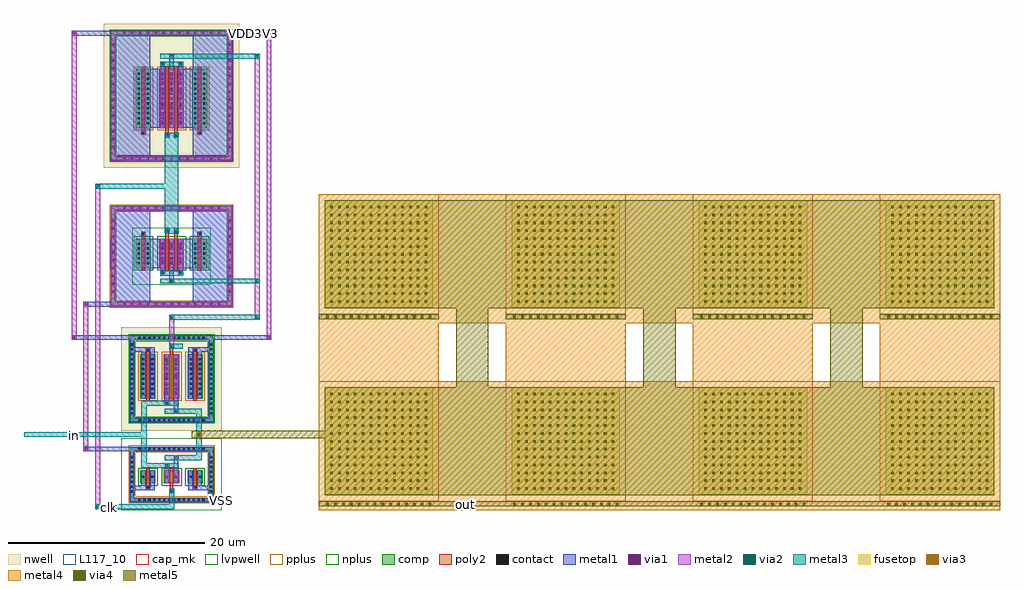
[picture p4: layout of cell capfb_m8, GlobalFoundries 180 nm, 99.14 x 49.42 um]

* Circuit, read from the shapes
.subckt capfb_m8 VDD3V3 VSS clk in out
XM1 VSS VSS VSS VSS nfet_03v3 w=3u l=0.36u m=2
XM2 VSS VSS VSS VSS nfet_03v3 w=1.3u l=0.36u m=2
XM3 n1 clk VSS VSS nfet_03v3 w=3u l=0.36u m=2
XM4 n2 clk in VSS nfet_03v3 w=1.3u l=0.36u
XM5 VDD3V3 VDD3V3 VDD3V3 VDD3V3 pfet_03v3 w=6u l=0.36u m=2
XM6 VDD3V3 VDD3V3 VDD3V3 VDD3V3 pfet_03v3 w=4.5u l=0.36u m=2
XM7 n1 clk VDD3V3 VDD3V3 pfet_03v3 w=6u l=0.36u m=2
XM8 n2 n1 in VDD3V3 pfet_03v3 w=4.5u l=0.36u
XC9 n2 out cap_mim_2f0fF c_width=11u c_length=11u m=8
.ends

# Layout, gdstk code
from math import pi, radians
import gdstk
lib = gdstk.Library(unit=1e-6, precision=5e-09)
def R(c, l, rs):  # rectangles x0, y0, x1, y1
    for r in rs: c.add(gdstk.rectangle(r[:2], r[2:], *l))
def A(c, l, x, y, w, h, nx, ny, dx, dy):  # array of equal rectangles
    R(c, l, [(x+i*dx, y+j*dy, x+i*dx+w, y+j*dy+h) for i in range(nx) for j in range(ny)])
def P(c, l, *ps):  # polygons
    for p in ps: c.add(gdstk.Polygon(p, *l))
nwell = (21, 0)
comp = (22, 0)
poly2 = (30, 0)
pplus = (31, 0)
nplus = (32, 0)
contact = (33, 0)
metal1 = (34, 0)
via1 = (35, 0)
metal2 = (36, 0)
via2 = (38, 0)
via3 = (40, 0)
via4 = (41, 0)
metal3 = (42, 0)
metal4 = (46, 0)
fusetop = (75, 0)
metal5 = (81, 0)
cap_mk = (117, 5)
L117_10 = (117, 10)
lvpwell = (204, 0)

straight_route_1292f0cf = lib.new_cell('straight_route_1292f0cf')
P(straight_route_1292f0cf, metal5, [(106.1,-6.15),(106.1,-5.65),(106.1,-5.65),(106.1,-6.15)])

straight_route_d243dd4a = lib.new_cell('straight_route_d243dd4a')
P(straight_route_d243dd4a, metal5, [(75.5,-5.05),(75.5,5.95),(75.5,5.95),(75.5,-5.05)])

straight_route_c66886c2 = lib.new_cell('straight_route_c66886c2')
R(straight_route_c66886c2, metal5, [(87.1,-25.15,93.9,-24.65)])

straight_route_5527bab2 = lib.new_cell('straight_route_5527bab2')
R(straight_route_5527bab2, metal5, [(86.5,-24.05,94.5,-13.05)])

straight_route_7c0e1663 = lib.new_cell('straight_route_7c0e1663')
R(straight_route_7c0e1663, metal5, [(86.5,-5.05,94.5,5.95)])

unnamed_3bdbd8be = lib.new_cell('Unnamed_3bdbd8be')
A(unnamed_3bdbd8be, via4, -5.33, -6.48, 0.26, 0.26, 14, 1, 0.8, 0)
A(unnamed_3bdbd8be, via4, -4.93, -4.93, 0.26, 0.26, 13, 13, 0.8, 0.8)
R(unnamed_3bdbd8be, metal4, [(-6.1,-7,6.1,-6.6), (-6.1,-6.6,6.1,-6.1), (-6.1,-6.1,6.1,6.1)])
R(unnamed_3bdbd8be, fusetop, [(-5.5,-5.5,5.5,5.5)])
A(unnamed_3bdbd8be, metal5, -5.45, -6.6, 0.5, 0.5, 14, 1, 0.8, 0)
A(unnamed_3bdbd8be, metal5, -5.05, -5.05, 0.5, 0.5, 13, 13, 0.8, 0.8)
R(unnamed_3bdbd8be, metal5, [(-6.1,-6.6,6.1,-6.1), (-5.5,-5.5,5.5,5.5)])
R(unnamed_3bdbd8be, cap_mk, [(-6.1,-6.1,6.1,6.1)])
R(unnamed_3bdbd8be, L117_10, [(-5.5,-5.5,5.5,-5.4)])

unnamed_5ccd14ac = lib.new_cell('Unnamed_5ccd14ac')
A(unnamed_5ccd14ac, via4, -5.33, -6.48, 0.26, 0.26, 14, 1, 0.8, 0)
A(unnamed_5ccd14ac, via4, -4.93, -4.93, 0.26, 0.26, 13, 13, 0.8, 0.8)
R(unnamed_5ccd14ac, metal4, [(-6.1,-7,6.1,-6.6), (-6.1,-6.6,6.1,-6.1), (-6.1,-6.1,6.1,6.1)])
R(unnamed_5ccd14ac, fusetop, [(-5.5,-5.5,5.5,5.5)])
A(unnamed_5ccd14ac, metal5, -5.45, -6.6, 0.5, 0.5, 14, 1, 0.8, 0)
A(unnamed_5ccd14ac, metal5, -5.05, -5.05, 0.5, 0.5, 13, 13, 0.8, 0.8)
R(unnamed_5ccd14ac, metal5, [(-6.1,-6.6,6.1,-6.1), (-5.5,-5.5,5.5,5.5)])
R(unnamed_5ccd14ac, cap_mk, [(-6.1,-6.1,6.1,6.1)])
R(unnamed_5ccd14ac, L117_10, [(-5.5,-5.5,5.5,-5.4)])

unnamed_c330ef8c = lib.new_cell('Unnamed_c330ef8c')
A(unnamed_c330ef8c, via4, -5.33, -6.48, 0.26, 0.26, 14, 1, 0.8, 0)
A(unnamed_c330ef8c, via4, -4.93, -4.93, 0.26, 0.26, 13, 13, 0.8, 0.8)
R(unnamed_c330ef8c, metal4, [(-6.1,-7,6.1,-6.6), (-6.1,-6.6,6.1,-6.1), (-6.1,-6.1,6.1,6.1)])
R(unnamed_c330ef8c, fusetop, [(-5.5,-5.5,5.5,5.5)])
A(unnamed_c330ef8c, metal5, -5.45, -6.6, 0.5, 0.5, 14, 1, 0.8, 0)
A(unnamed_c330ef8c, metal5, -5.05, -5.05, 0.5, 0.5, 13, 13, 0.8, 0.8)
R(unnamed_c330ef8c, metal5, [(-6.1,-6.6,6.1,-6.1), (-5.5,-5.5,5.5,5.5)])
R(unnamed_c330ef8c, cap_mk, [(-6.1,-6.1,6.1,6.1)])
R(unnamed_c330ef8c, L117_10, [(-5.5,-5.5,5.5,-5.4)])

unnamed_f946fc89 = lib.new_cell('Unnamed_f946fc89')
A(unnamed_f946fc89, via4, -5.33, -6.48, 0.26, 0.26, 14, 1, 0.8, 0)
A(unnamed_f946fc89, via4, -4.93, -4.93, 0.26, 0.26, 13, 13, 0.8, 0.8)
R(unnamed_f946fc89, metal4, [(-6.1,-7,6.1,-6.6), (-6.1,-6.6,6.1,-6.1), (-6.1,-6.1,6.1,6.1)])
R(unnamed_f946fc89, fusetop, [(-5.5,-5.5,5.5,5.5)])
A(unnamed_f946fc89, metal5, -5.45, -6.6, 0.5, 0.5, 14, 1, 0.8, 0)
A(unnamed_f946fc89, metal5, -5.05, -5.05, 0.5, 0.5, 13, 13, 0.8, 0.8)
R(unnamed_f946fc89, metal5, [(-6.1,-6.6,6.1,-6.1), (-5.5,-5.5,5.5,5.5)])
R(unnamed_f946fc89, cap_mk, [(-6.1,-6.1,6.1,6.1)])
R(unnamed_f946fc89, L117_10, [(-5.5,-5.5,5.5,-5.4)])

straight_route_1292f0cf_ = lib.new_cell('straight_route_1292f0cf$1')
P(straight_route_1292f0cf_, metal5, [(106.1,-6.15),(106.1,-5.65),(106.1,-5.65),(106.1,-6.15)])

straight_route_d243dd4a_ = lib.new_cell('straight_route_d243dd4a$1')
P(straight_route_d243dd4a_, metal5, [(75.5,-5.05),(75.5,5.95),(75.5,5.95),(75.5,-5.05)])

straight_route_c66886c2_ = lib.new_cell('straight_route_c66886c2$1')
R(straight_route_c66886c2_, metal5, [(87.1,-25.15,93.9,-24.65)])

straight_route_5527bab2_ = lib.new_cell('straight_route_5527bab2$1')
R(straight_route_5527bab2_, metal5, [(86.5,-24.05,94.5,-13.05)])

straight_route_7c0e1663_ = lib.new_cell('straight_route_7c0e1663$1')
R(straight_route_7c0e1663_, metal5, [(86.5,-5.05,94.5,5.95)])

unnamed_3bdbd8be_1 = lib.new_cell('Unnamed_3bdbd8be$1')
A(unnamed_3bdbd8be_1, via4, -5.33, -6.48, 0.26, 0.26, 14, 1, 0.8, 0)
A(unnamed_3bdbd8be_1, via4, -4.93, -4.93, 0.26, 0.26, 13, 13, 0.8, 0.8)
R(unnamed_3bdbd8be_1, metal4, [(-6.1,-7,6.1,-6.6), (-6.1,-6.6,6.1,-6.1), (-6.1,-6.1,6.1,6.1)])
R(unnamed_3bdbd8be_1, fusetop, [(-5.5,-5.5,5.5,5.5)])
A(unnamed_3bdbd8be_1, metal5, -5.45, -6.6, 0.5, 0.5, 14, 1, 0.8, 0)
A(unnamed_3bdbd8be_1, metal5, -5.05, -5.05, 0.5, 0.5, 13, 13, 0.8, 0.8)
R(unnamed_3bdbd8be_1, metal5, [(-6.1,-6.6,6.1,-6.1), (-5.5,-5.5,5.5,5.5)])
R(unnamed_3bdbd8be_1, cap_mk, [(-6.1,-6.1,6.1,6.1)])
R(unnamed_3bdbd8be_1, L117_10, [(-5.5,-5.5,5.5,-5.4)])

unnamed_5ccd14ac_1 = lib.new_cell('Unnamed_5ccd14ac$1')
A(unnamed_5ccd14ac_1, via4, -5.33, -6.48, 0.26, 0.26, 14, 1, 0.8, 0)
A(unnamed_5ccd14ac_1, via4, -4.93, -4.93, 0.26, 0.26, 13, 13, 0.8, 0.8)
R(unnamed_5ccd14ac_1, metal4, [(-6.1,-7,6.1,-6.6), (-6.1,-6.6,6.1,-6.1), (-6.1,-6.1,6.1,6.1)])
R(unnamed_5ccd14ac_1, fusetop, [(-5.5,-5.5,5.5,5.5)])
A(unnamed_5ccd14ac_1, metal5, -5.45, -6.6, 0.5, 0.5, 14, 1, 0.8, 0)
A(unnamed_5ccd14ac_1, metal5, -5.05, -5.05, 0.5, 0.5, 13, 13, 0.8, 0.8)
R(unnamed_5ccd14ac_1, metal5, [(-6.1,-6.6,6.1,-6.1), (-5.5,-5.5,5.5,5.5)])
R(unnamed_5ccd14ac_1, cap_mk, [(-6.1,-6.1,6.1,6.1)])
R(unnamed_5ccd14ac_1, L117_10, [(-5.5,-5.5,5.5,-5.4)])

unnamed_c330ef8c_1 = lib.new_cell('Unnamed_c330ef8c$1')
A(unnamed_c330ef8c_1, via4, -5.33, -6.48, 0.26, 0.26, 14, 1, 0.8, 0)
A(unnamed_c330ef8c_1, via4, -4.93, -4.93, 0.26, 0.26, 13, 13, 0.8, 0.8)
R(unnamed_c330ef8c_1, metal4, [(-6.1,-7,6.1,-6.6), (-6.1,-6.6,6.1,-6.1), (-6.1,-6.1,6.1,6.1)])
R(unnamed_c330ef8c_1, fusetop, [(-5.5,-5.5,5.5,5.5)])
A(unnamed_c330ef8c_1, metal5, -5.45, -6.6, 0.5, 0.5, 14, 1, 0.8, 0)
A(unnamed_c330ef8c_1, metal5, -5.05, -5.05, 0.5, 0.5, 13, 13, 0.8, 0.8)
R(unnamed_c330ef8c_1, metal5, [(-6.1,-6.6,6.1,-6.1), (-5.5,-5.5,5.5,5.5)])
R(unnamed_c330ef8c_1, cap_mk, [(-6.1,-6.1,6.1,6.1)])
R(unnamed_c330ef8c_1, L117_10, [(-5.5,-5.5,5.5,-5.4)])

unnamed_f946fc89_1 = lib.new_cell('Unnamed_f946fc89$1')
A(unnamed_f946fc89_1, via4, -5.33, -6.48, 0.26, 0.26, 14, 1, 0.8, 0)
A(unnamed_f946fc89_1, via4, -4.93, -4.93, 0.26, 0.26, 13, 13, 0.8, 0.8)
R(unnamed_f946fc89_1, metal4, [(-6.1,-7,6.1,-6.6), (-6.1,-6.6,6.1,-6.1), (-6.1,-6.1,6.1,6.1)])
R(unnamed_f946fc89_1, fusetop, [(-5.5,-5.5,5.5,5.5)])
A(unnamed_f946fc89_1, metal5, -5.45, -6.6, 0.5, 0.5, 14, 1, 0.8, 0)
A(unnamed_f946fc89_1, metal5, -5.05, -5.05, 0.5, 0.5, 13, 13, 0.8, 0.8)
R(unnamed_f946fc89_1, metal5, [(-6.1,-6.6,6.1,-6.1), (-5.5,-5.5,5.5,5.5)])
R(unnamed_f946fc89_1, cap_mk, [(-6.1,-6.1,6.1,6.1)])
R(unnamed_f946fc89_1, L117_10, [(-5.5,-5.5,5.5,-5.4)])

unnamed_2a73851a_1_2 = lib.new_cell('Unnamed_2a73851a$1$2')
R(unnamed_2a73851a_1_2, nwell, [(-2.32,-4.395,2.32,4.395)])
R(unnamed_2a73851a_1_2, comp, [(-1.97,-3.275,-0.45,2.725), (0.41,-3.275,1.97,2.725)])
R(unnamed_2a73851a_1_2, poly2, [(0.96,-4.275,1.42,-3.815), (1.01,-4.225,1.37,-3.865), (-1.44,-3.975,-0.98,-3.515), (-1.39,-3.925,-1.03,-3.565), (1.01,-3.815,1.37,-3.515), (-1.39,-3.515,-1.03,2.965), (1.01,-3.515,1.37,2.965)])
R(unnamed_2a73851a_1_2, pplus, [(-2.2,-3.505,-0.22,2.955), (0.18,-3.505,2.2,2.955)])
A(unnamed_2a73851a_1_2, contact, -1.78, -2.885, 0.22, 0.22, 1, 11, 0, 0.5)
A(unnamed_2a73851a_1_2, contact, -0.86, -2.885, 0.22, 0.22, 1, 11, 0, 0.5)
A(unnamed_2a73851a_1_2, contact, 0.62, -2.885, 0.22, 0.22, 1, 11, 0, 0.5)
A(unnamed_2a73851a_1_2, contact, 1.54, -2.885, 0.22, 0.22, 1, 11, 0, 0.5)
R(unnamed_2a73851a_1_2, contact, [(1.08,-4.155,1.3,-3.935), (-1.32,-3.855,-1.1,-3.635)])
A(unnamed_2a73851a_1_2, metal1, -1.9, -3.975, 0.46, 0.46, 3, 1, 0.46, 0)
A(unnamed_2a73851a_1_2, metal1, -1.9, -3.005, 0.46, 0.46, 1, 11, 0, 0.5)
A(unnamed_2a73851a_1_2, metal1, -0.98, -3.005, 0.46, 0.46, 1, 11, 0, 0.5)
A(unnamed_2a73851a_1_2, metal1, 0.5, -3.005, 0.46, 0.46, 1, 11, 0, 0.5)
A(unnamed_2a73851a_1_2, metal1, 1.42, -3.005, 0.46, 0.46, 1, 11, 0, 0.5)
A(unnamed_2a73851a_1_2, metal1, 0.48, -2.925, 0.5, 0.5, 1, 7, 0, 0.8)
A(unnamed_2a73851a_1_2, metal1, 1.4, -2.925, 0.5, 0.5, 1, 7, 0, 0.8)
R(unnamed_2a73851a_1_2, metal1, [(0.96,-4.275,1.42,-3.815), (0.96,-4.275,1.42,-3.815), (-1.9,-3.975,-1.44,-3.275), (-0.98,-3.975,-0.52,-3.275), (-1.9,-3.275,-1.44,2.725), (-0.98,-3.275,-0.52,2.725), (0.5,-3.275,0.96,2.725), (1.42,-3.275,1.88,2.725), (0.48,-2.925,0.98,2.375), (1.4,-2.925,1.9,2.375), (0.5,2.725,0.96,3.475), (1.42,2.725,1.88,4.275), (0.48,2.975,0.98,3.475), (1.4,3.775,1.9,4.275)])
A(unnamed_2a73851a_1_2, via1, 0.6, -2.805, 0.26, 0.26, 1, 7, 0, 0.8)
A(unnamed_2a73851a_1_2, via1, 1.52, -2.805, 0.26, 0.26, 1, 7, 0, 0.8)
R(unnamed_2a73851a_1_2, via1, [(0.6,3.095,0.86,3.355), (1.52,3.895,1.78,4.155)])
A(unnamed_2a73851a_1_2, metal2, 0.48, -2.925, 0.5, 0.5, 1, 7, 0, 0.8)
A(unnamed_2a73851a_1_2, metal2, 1.4, -2.925, 0.5, 0.5, 1, 7, 0, 0.8)
R(unnamed_2a73851a_1_2, metal2, [(0.48,-3.275,0.98,2.725), (1.4,-3.275,1.9,2.725), (0.48,2.975,0.98,3.475), (1.4,3.775,1.9,4.275)])
R(unnamed_2a73851a_1_2, via2, [(0.6,3.095,0.86,3.355), (1.52,3.895,1.78,4.155)])
R(unnamed_2a73851a_1_2, metal3, [(0.48,2.975,0.98,3.475), (0.48,2.975,1.9,3.475), (0.48,3.775,1.9,4.275), (1.4,3.775,1.9,4.275)])

unnamed_f1af8ef3_1_2 = lib.new_cell('Unnamed_f1af8ef3$1$2')
R(unnamed_f1af8ef3_1_2, nwell, [(-2.32,-4.395,2.32,4.395)])
R(unnamed_f1af8ef3_1_2, comp, [(-1.97,-3.275,-0.45,2.725), (0.41,-3.275,1.97,2.725)])
R(unnamed_f1af8ef3_1_2, poly2, [(0.96,-4.275,1.42,-3.815), (1.01,-4.225,1.37,-3.865), (-1.44,-3.975,-0.98,-3.515), (-1.39,-3.925,-1.03,-3.565), (1.01,-3.815,1.37,-3.515), (-1.39,-3.515,-1.03,2.965), (1.01,-3.515,1.37,2.965)])
R(unnamed_f1af8ef3_1_2, pplus, [(-2.2,-3.505,-0.22,2.955), (0.18,-3.505,2.2,2.955)])
A(unnamed_f1af8ef3_1_2, contact, -1.78, -2.885, 0.22, 0.22, 1, 11, 0, 0.5)
A(unnamed_f1af8ef3_1_2, contact, -0.86, -2.885, 0.22, 0.22, 1, 11, 0, 0.5)
A(unnamed_f1af8ef3_1_2, contact, 0.62, -2.885, 0.22, 0.22, 1, 11, 0, 0.5)
A(unnamed_f1af8ef3_1_2, contact, 1.54, -2.885, 0.22, 0.22, 1, 11, 0, 0.5)
R(unnamed_f1af8ef3_1_2, contact, [(1.08,-4.155,1.3,-3.935), (-1.32,-3.855,-1.1,-3.635)])
A(unnamed_f1af8ef3_1_2, metal1, -1.9, -3.975, 0.46, 0.46, 3, 1, 0.46, 0)
A(unnamed_f1af8ef3_1_2, metal1, -1.9, -3.005, 0.46, 0.46, 1, 11, 0, 0.5)
A(unnamed_f1af8ef3_1_2, metal1, -0.98, -3.005, 0.46, 0.46, 1, 11, 0, 0.5)
A(unnamed_f1af8ef3_1_2, metal1, 0.5, -3.005, 0.46, 0.46, 1, 11, 0, 0.5)
A(unnamed_f1af8ef3_1_2, metal1, 1.42, -3.005, 0.46, 0.46, 1, 11, 0, 0.5)
A(unnamed_f1af8ef3_1_2, metal1, 0.48, -2.925, 0.5, 0.5, 1, 7, 0, 0.8)
A(unnamed_f1af8ef3_1_2, metal1, 1.4, -2.925, 0.5, 0.5, 1, 7, 0, 0.8)
R(unnamed_f1af8ef3_1_2, metal1, [(0.96,-4.275,1.42,-3.815), (0.96,-4.275,1.42,-3.815), (-1.9,-3.975,-1.44,-3.275), (-0.98,-3.975,-0.52,-3.275), (-1.9,-3.275,-1.44,2.725), (-0.98,-3.275,-0.52,2.725), (0.5,-3.275,0.96,2.725), (1.42,-3.275,1.88,2.725), (0.48,-2.925,0.98,2.375), (1.4,-2.925,1.9,2.375), (0.5,2.725,0.96,3.475), (1.42,2.725,1.88,4.275), (0.48,2.975,0.98,3.475), (1.4,3.775,1.9,4.275)])
A(unnamed_f1af8ef3_1_2, via1, 0.6, -2.805, 0.26, 0.26, 1, 7, 0, 0.8)
A(unnamed_f1af8ef3_1_2, via1, 1.52, -2.805, 0.26, 0.26, 1, 7, 0, 0.8)
R(unnamed_f1af8ef3_1_2, via1, [(0.6,3.095,0.86,3.355), (1.52,3.895,1.78,4.155)])
A(unnamed_f1af8ef3_1_2, metal2, 0.48, -2.925, 0.5, 0.5, 1, 7, 0, 0.8)
A(unnamed_f1af8ef3_1_2, metal2, 1.4, -2.925, 0.5, 0.5, 1, 7, 0, 0.8)
R(unnamed_f1af8ef3_1_2, metal2, [(0.48,-3.275,0.98,2.725), (1.4,-3.275,1.9,2.725), (0.48,2.975,0.98,3.475), (1.4,3.775,1.9,4.275)])
R(unnamed_f1af8ef3_1_2, via2, [(0.6,3.095,0.86,3.355), (1.52,3.895,1.78,4.155)])
R(unnamed_f1af8ef3_1_2, metal3, [(0.48,2.975,0.98,3.475), (0.48,2.975,1.9,3.475), (0.48,3.775,1.9,4.275), (1.4,3.775,1.9,4.275)])

unnamed_ead98f9a_1_2 = lib.new_cell('Unnamed_ead98f9a$1$2')
R(unnamed_ead98f9a_1_2, comp, [(-1.97,-1.775,-0.45,1.225), (0.41,-1.775,1.97,1.225)])
R(unnamed_ead98f9a_1_2, poly2, [(0.96,-2.775,1.42,-2.315), (1.01,-2.725,1.37,-2.365), (-1.44,-2.475,-0.98,-2.015), (-1.39,-2.425,-1.03,-2.065), (1.01,-2.315,1.37,-2.015), (-1.39,-2.015,-1.03,1.465), (1.01,-2.015,1.37,1.465)])
R(unnamed_ead98f9a_1_2, nplus, [(-2.2,-2.005,-0.22,1.455), (0.18,-2.005,2.2,1.455)])
A(unnamed_ead98f9a_1_2, contact, -1.78, -1.385, 0.22, 0.22, 1, 5, 0, 0.5)
A(unnamed_ead98f9a_1_2, contact, -0.86, -1.385, 0.22, 0.22, 1, 5, 0, 0.5)
A(unnamed_ead98f9a_1_2, contact, 0.62, -1.385, 0.22, 0.22, 1, 5, 0, 0.5)
A(unnamed_ead98f9a_1_2, contact, 1.54, -1.385, 0.22, 0.22, 1, 5, 0, 0.5)
R(unnamed_ead98f9a_1_2, contact, [(1.08,-2.655,1.3,-2.435), (-1.32,-2.355,-1.1,-2.135)])
A(unnamed_ead98f9a_1_2, metal1, -1.9, -2.475, 0.46, 0.46, 3, 1, 0.46, 0)
A(unnamed_ead98f9a_1_2, metal1, -1.9, -1.505, 0.46, 0.46, 1, 5, 0, 0.5)
A(unnamed_ead98f9a_1_2, metal1, -0.98, -1.505, 0.46, 0.46, 1, 5, 0, 0.5)
A(unnamed_ead98f9a_1_2, metal1, 0.5, -1.505, 0.46, 0.46, 1, 5, 0, 0.5)
A(unnamed_ead98f9a_1_2, metal1, 1.42, -1.505, 0.46, 0.46, 1, 5, 0, 0.5)
A(unnamed_ead98f9a_1_2, metal1, 0.48, -1.325, 0.5, 0.5, 1, 3, 0, 0.8)
A(unnamed_ead98f9a_1_2, metal1, 1.4, -1.325, 0.5, 0.5, 1, 3, 0, 0.8)
R(unnamed_ead98f9a_1_2, metal1, [(0.96,-2.775,1.42,-2.315), (0.96,-2.775,1.42,-2.315), (-1.9,-2.475,-1.44,-1.775), (-0.98,-2.475,-0.52,-1.775), (-1.9,-1.775,-1.44,1.225), (-0.98,-1.775,-0.52,1.225), (0.5,-1.775,0.96,1.225), (1.42,-1.775,1.88,1.225), (0.48,-1.325,0.98,0.775), (1.4,-1.325,1.9,0.775), (0.5,1.225,0.96,1.975), (1.42,1.225,1.88,2.775), (0.48,1.475,0.98,1.975), (1.4,2.275,1.9,2.775)])
A(unnamed_ead98f9a_1_2, via1, 0.6, -1.205, 0.26, 0.26, 1, 3, 0, 0.8)
A(unnamed_ead98f9a_1_2, via1, 1.52, -1.205, 0.26, 0.26, 1, 3, 0, 0.8)
R(unnamed_ead98f9a_1_2, via1, [(0.6,1.595,0.86,1.855), (1.52,2.395,1.78,2.655)])
A(unnamed_ead98f9a_1_2, metal2, 0.48, -1.325, 0.5, 0.5, 1, 3, 0, 0.8)
A(unnamed_ead98f9a_1_2, metal2, 1.4, -1.325, 0.5, 0.5, 1, 3, 0, 0.8)
R(unnamed_ead98f9a_1_2, metal2, [(0.48,-1.775,0.98,1.225), (1.4,-1.775,1.9,1.225), (0.48,1.475,0.98,1.975), (1.4,2.275,1.9,2.775)])
R(unnamed_ead98f9a_1_2, via2, [(0.6,1.595,0.86,1.855), (1.52,2.395,1.78,2.655)])
R(unnamed_ead98f9a_1_2, metal3, [(0.48,1.475,0.98,1.975), (0.48,1.475,1.9,1.975), (0.48,2.275,1.9,2.775), (1.4,2.275,1.9,2.775)])
R(unnamed_ead98f9a_1_2, lvpwell, [(-2.32,-2.895,2.32,2.895)])

unnamed_11e8e328_1_2 = lib.new_cell('Unnamed_11e8e328$1$2')
R(unnamed_11e8e328_1_2, comp, [(-1.97,-1.775,-0.45,1.225), (0.41,-1.775,1.97,1.225)])
R(unnamed_11e8e328_1_2, poly2, [(0.96,-2.775,1.42,-2.315), (1.01,-2.725,1.37,-2.365), (-1.44,-2.475,-0.98,-2.015), (-1.39,-2.425,-1.03,-2.065), (1.01,-2.315,1.37,-2.015), (-1.39,-2.015,-1.03,1.465), (1.01,-2.015,1.37,1.465)])
R(unnamed_11e8e328_1_2, nplus, [(-2.2,-2.005,-0.22,1.455), (0.18,-2.005,2.2,1.455)])
A(unnamed_11e8e328_1_2, contact, -1.78, -1.385, 0.22, 0.22, 1, 5, 0, 0.5)
A(unnamed_11e8e328_1_2, contact, -0.86, -1.385, 0.22, 0.22, 1, 5, 0, 0.5)
A(unnamed_11e8e328_1_2, contact, 0.62, -1.385, 0.22, 0.22, 1, 5, 0, 0.5)
A(unnamed_11e8e328_1_2, contact, 1.54, -1.385, 0.22, 0.22, 1, 5, 0, 0.5)
R(unnamed_11e8e328_1_2, contact, [(1.08,-2.655,1.3,-2.435), (-1.32,-2.355,-1.1,-2.135)])
A(unnamed_11e8e328_1_2, metal1, -1.9, -2.475, 0.46, 0.46, 3, 1, 0.46, 0)
A(unnamed_11e8e328_1_2, metal1, -1.9, -1.505, 0.46, 0.46, 1, 5, 0, 0.5)
A(unnamed_11e8e328_1_2, metal1, -0.98, -1.505, 0.46, 0.46, 1, 5, 0, 0.5)
A(unnamed_11e8e328_1_2, metal1, 0.5, -1.505, 0.46, 0.46, 1, 5, 0, 0.5)
A(unnamed_11e8e328_1_2, metal1, 1.42, -1.505, 0.46, 0.46, 1, 5, 0, 0.5)
A(unnamed_11e8e328_1_2, metal1, 0.48, -1.325, 0.5, 0.5, 1, 3, 0, 0.8)
A(unnamed_11e8e328_1_2, metal1, 1.4, -1.325, 0.5, 0.5, 1, 3, 0, 0.8)
R(unnamed_11e8e328_1_2, metal1, [(0.96,-2.775,1.42,-2.315), (0.96,-2.775,1.42,-2.315), (-1.9,-2.475,-1.44,-1.775), (-0.98,-2.475,-0.52,-1.775), (-1.9,-1.775,-1.44,1.225), (-0.98,-1.775,-0.52,1.225), (0.5,-1.775,0.96,1.225), (1.42,-1.775,1.88,1.225), (0.48,-1.325,0.98,0.775), (1.4,-1.325,1.9,0.775), (0.5,1.225,0.96,1.975), (1.42,1.225,1.88,2.775), (0.48,1.475,0.98,1.975), (1.4,2.275,1.9,2.775)])
A(unnamed_11e8e328_1_2, via1, 0.6, -1.205, 0.26, 0.26, 1, 3, 0, 0.8)
A(unnamed_11e8e328_1_2, via1, 1.52, -1.205, 0.26, 0.26, 1, 3, 0, 0.8)
R(unnamed_11e8e328_1_2, via1, [(0.6,1.595,0.86,1.855), (1.52,2.395,1.78,2.655)])
A(unnamed_11e8e328_1_2, metal2, 0.48, -1.325, 0.5, 0.5, 1, 3, 0, 0.8)
A(unnamed_11e8e328_1_2, metal2, 1.4, -1.325, 0.5, 0.5, 1, 3, 0, 0.8)
R(unnamed_11e8e328_1_2, metal2, [(0.48,-1.775,0.98,1.225), (1.4,-1.775,1.9,1.225), (0.48,1.475,0.98,1.975), (1.4,2.275,1.9,2.775)])
R(unnamed_11e8e328_1_2, via2, [(0.6,1.595,0.86,1.855), (1.52,2.395,1.78,2.655)])
R(unnamed_11e8e328_1_2, metal3, [(0.48,1.475,0.98,1.975), (0.48,1.475,1.9,1.975), (0.48,2.275,1.9,2.775), (1.4,2.275,1.9,2.775)])
R(unnamed_11e8e328_1_2, lvpwell, [(-2.32,-2.895,2.32,2.895)])

unnamed_a559eeb2_1_1_2 = lib.new_cell('Unnamed_a559eeb2$1$1$2')
A(unnamed_a559eeb2_1_1_2, comp, -4.98, -6.555, 0.36, 0.36, 13, 2, 0.8, 12.75)
A(unnamed_a559eeb2_1_1_2, comp, -6.13, -5.38, 0.36, 0.36, 1, 14, 0, 0.8)
A(unnamed_a559eeb2_1_1_2, comp, 5.77, -5.38, 0.36, 0.36, 1, 14, 0, 0.8)
R(unnamed_a559eeb2_1_1_2, comp, [(-4.98,-6.555,4.98,-6.195), (-6.13,-5.38,-5.77,5.38), (5.77,-5.38,6.13,5.38), (-4.98,6.195,4.98,6.555)])
P(unnamed_a559eeb2_1_1_2, comp, [(-6.13,-6.555),(-6.13,-6.195),(-5.77,-6.195),(5.77,-6.195),(5.77,6.195),(-5.77,6.195),(-5.77,-6.195),(-6.13,-6.195),(-6.13,6.555),(6.13,6.555),(6.13,-6.555)])
P(unnamed_a559eeb2_1_1_2, nplus, [(-6.29,-6.715),(-6.29,-6.035),(-5.61,-6.035),(5.61,-6.035),(5.61,6.035),(-5.61,6.035),(-5.61,-6.035),(-6.29,-6.035),(-6.29,6.715),(6.29,6.715),(6.29,-6.715)])
A(unnamed_a559eeb2_1_1_2, contact, -4.91, -6.485, 0.22, 0.22, 13, 2, 0.8, 12.75)
A(unnamed_a559eeb2_1_1_2, contact, -6.06, -5.31, 0.22, 0.22, 1, 14, 0, 0.8)
A(unnamed_a559eeb2_1_1_2, contact, 5.84, -5.31, 0.22, 0.22, 1, 14, 0, 0.8)
A(unnamed_a559eeb2_1_1_2, metal1, -5.05, -6.625, 0.5, 0.5, 13, 2, 0.8, 12.75)
A(unnamed_a559eeb2_1_1_2, metal1, -6.2, -5.45, 0.5, 0.5, 1, 14, 0, 0.8)
A(unnamed_a559eeb2_1_1_2, metal1, 5.7, -5.45, 0.5, 0.5, 1, 14, 0, 0.8)
R(unnamed_a559eeb2_1_1_2, metal1, [(-5.05,-6.625,5.05,-6.125), (-6.2,-5.45,-5.7,5.45), (5.7,-5.45,6.2,5.45), (-5.05,6.125,5.05,6.625)])
A(unnamed_a559eeb2_1_1_2, via1, -4.93, -6.505, 0.26, 0.26, 13, 2, 0.8, 12.75)
A(unnamed_a559eeb2_1_1_2, via1, -6.08, -5.33, 0.26, 0.26, 1, 14, 0, 0.8)
A(unnamed_a559eeb2_1_1_2, via1, 5.82, -5.33, 0.26, 0.26, 1, 14, 0, 0.8)
A(unnamed_a559eeb2_1_1_2, metal2, -5.05, -6.625, 0.5, 0.5, 13, 2, 0.8, 12.75)
A(unnamed_a559eeb2_1_1_2, metal2, -6.2, -5.45, 0.5, 0.5, 1, 14, 0, 0.8)
A(unnamed_a559eeb2_1_1_2, metal2, 5.7, -5.45, 0.5, 0.5, 1, 14, 0, 0.8)
R(unnamed_a559eeb2_1_1_2, metal2, [(-6.2,-6.625,-5.77,-6.125), (-6.2,-6.625,-5.7,-6.195), (-5.77,-6.625,5.77,-6.125), (5.7,-6.625,6.2,-6.195), (5.77,-6.625,6.2,-6.125), (-6.2,-6.195,-5.7,6.195), (5.7,-6.195,6.2,6.195), (-6.2,6.125,-5.77,6.625), (-5.77,6.125,5.77,6.625), (5.77,6.125,6.2,6.625), (-6.2,6.195,-5.7,6.625), (5.7,6.195,6.2,6.625)])

unnamed_ba294454_1_1_2 = lib.new_cell('Unnamed_ba294454$1$1$2')
A(unnamed_ba294454_1_1_2, comp, -4.98, -5.055, 0.36, 0.36, 13, 2, 0.8, 9.75)
A(unnamed_ba294454_1_1_2, comp, -6.13, -3.78, 0.36, 0.36, 1, 10, 0, 0.8)
A(unnamed_ba294454_1_1_2, comp, 5.77, -3.78, 0.36, 0.36, 1, 10, 0, 0.8)
R(unnamed_ba294454_1_1_2, comp, [(-4.98,-5.055,4.98,-4.695), (-6.13,-3.78,-5.77,3.78), (5.77,-3.78,6.13,3.78), (-4.98,4.695,4.98,5.055)])
P(unnamed_ba294454_1_1_2, comp, [(-6.13,-5.055),(-6.13,-4.695),(-5.77,-4.695),(5.77,-4.695),(5.77,4.695),(-5.77,4.695),(-5.77,-4.695),(-6.13,-4.695),(-6.13,5.055),(6.13,5.055),(6.13,-5.055)])
P(unnamed_ba294454_1_1_2, pplus, [(-6.29,-5.215),(-6.29,-4.535),(-5.61,-4.535),(5.61,-4.535),(5.61,4.535),(-5.61,4.535),(-5.61,-4.535),(-6.29,-4.535),(-6.29,5.215),(6.29,5.215),(6.29,-5.215)])
A(unnamed_ba294454_1_1_2, contact, -4.91, -4.985, 0.22, 0.22, 13, 2, 0.8, 9.75)
A(unnamed_ba294454_1_1_2, contact, -6.06, -3.71, 0.22, 0.22, 1, 10, 0, 0.8)
A(unnamed_ba294454_1_1_2, contact, 5.84, -3.71, 0.22, 0.22, 1, 10, 0, 0.8)
A(unnamed_ba294454_1_1_2, metal1, -5.05, -5.125, 0.5, 0.5, 13, 2, 0.8, 9.75)
A(unnamed_ba294454_1_1_2, metal1, -6.2, -3.85, 0.5, 0.5, 1, 10, 0, 0.8)
A(unnamed_ba294454_1_1_2, metal1, 5.7, -3.85, 0.5, 0.5, 1, 10, 0, 0.8)
R(unnamed_ba294454_1_1_2, metal1, [(-5.05,-5.125,5.05,-4.625), (-6.2,-3.85,-5.7,3.85), (5.7,-3.85,6.2,3.85), (-5.05,4.625,5.05,5.125)])
A(unnamed_ba294454_1_1_2, via1, -4.93, -5.005, 0.26, 0.26, 13, 2, 0.8, 9.75)
A(unnamed_ba294454_1_1_2, via1, -6.08, -3.73, 0.26, 0.26, 1, 10, 0, 0.8)
A(unnamed_ba294454_1_1_2, via1, 5.82, -3.73, 0.26, 0.26, 1, 10, 0, 0.8)
A(unnamed_ba294454_1_1_2, metal2, -5.05, -5.125, 0.5, 0.5, 13, 2, 0.8, 9.75)
A(unnamed_ba294454_1_1_2, metal2, -6.2, -3.85, 0.5, 0.5, 1, 10, 0, 0.8)
A(unnamed_ba294454_1_1_2, metal2, 5.7, -3.85, 0.5, 0.5, 1, 10, 0, 0.8)
R(unnamed_ba294454_1_1_2, metal2, [(-6.2,-5.125,-5.77,-4.625), (-6.2,-5.125,-5.7,-4.695), (-5.77,-5.125,5.77,-4.625), (5.7,-5.125,6.2,-4.695), (5.77,-5.125,6.2,-4.625), (-6.2,-4.695,-5.7,4.695), (5.7,-4.695,6.2,4.695), (-6.2,4.625,-5.77,5.125), (-5.77,4.625,5.77,5.125), (5.77,4.625,6.2,5.125), (-6.2,4.695,-5.7,5.125), (5.7,4.695,6.2,5.125)])

straight_route_bff6138e_ = lib.new_cell('straight_route_bff6138e$4$1$2')
P(straight_route_bff6138e_, metal1, [(0.96,-4.275),(0.96,-4.275),(1.42,-4.275),(1.42,-4.275)])

c_route_7e4f65a3_1_1_2 = lib.new_cell('c_route_7e4f65a3$1$1$2')
R(c_route_7e4f65a3_1_1_2, metal2, [(10.1,-19.065,10.6,-18.565), (10.1,-19.065,10.6,4.275), (10.1,3.775,10.6,4.275)])
P(c_route_7e4f65a3_1_1_2, metal2, [(10.6,-19.065),(10.6,-18.565),(10.6,-18.565),(10.6,-19.065)],
  [(10.6,3.775),(10.6,4.275),(10.6,4.275),(10.6,3.775)])
R(c_route_7e4f65a3_1_1_2, via2, [(10.22,-18.945,10.48,-18.685), (10.22,3.895,10.48,4.155)])
R(c_route_7e4f65a3_1_1_2, metal3, [(1.9,-19.065,10.6,-18.565), (10.1,-19.065,10.6,-18.565), (1.9,3.775,10.6,4.275), (10.1,3.775,10.6,4.275)])

straight_route_e266139e_ = lib.new_cell('straight_route_e266139e$2$1$2')
R(straight_route_e266139e_, metal1, [(1.86,-14.015,2.36,-13.515), (1.86,-4.275,2.36,-3.775)])
R(straight_route_e266139e_, via1, [(1.98,-13.895,2.24,-13.635), (1.98,-4.155,2.24,-3.895)])
R(straight_route_e266139e_, metal2, [(1.86,-14.015,2.36,-13.515), (1.86,-4.275,2.36,-3.775)])
R(straight_route_e266139e_, via2, [(1.98,-13.895,2.24,-13.635), (1.98,-4.155,2.24,-3.895)])
R(straight_route_e266139e_, metal3, [(1.86,-14.015,2.36,-13.515), (1.88,-13.515,2.34,-4.275), (1.86,-4.275,2.36,-3.775)])

straight_route_f31ed6b7_ = lib.new_cell('straight_route_f31ed6b7$2$1$2')
R(straight_route_f31ed6b7_, metal1, [(0.94,-14.015,1.44,-13.515), (0.94,-4.275,1.44,-3.775)])
R(straight_route_f31ed6b7_, via1, [(1.06,-13.895,1.32,-13.635), (1.06,-4.155,1.32,-3.895)])
R(straight_route_f31ed6b7_, metal2, [(0.94,-14.015,1.44,-13.515), (0.94,-4.275,1.44,-3.775)])
R(straight_route_f31ed6b7_, via2, [(1.06,-13.895,1.32,-13.635), (1.06,-4.155,1.32,-3.895)])
R(straight_route_f31ed6b7_, metal3, [(0.94,-14.015,1.44,-13.515), (0.96,-13.515,1.42,-4.275), (0.94,-4.275,1.44,-3.775)])

unnamed_5acb1a93_1_2 = lib.new_cell('Unnamed_5acb1a93$1$2')
R(unnamed_5acb1a93_1_2, nwell, [(-4.49,-4.645,4.49,4.645)])
A(unnamed_5acb1a93_1_2, comp, -3.43, -4.365, 0.36, 0.36, 14, 2, 0.5, 8.37)
A(unnamed_5acb1a93_1_2, comp, -4.21, -3.68, 0.36, 0.36, 1, 15, 0, 0.5)
A(unnamed_5acb1a93_1_2, comp, 3.85, -3.68, 0.36, 0.36, 1, 15, 0, 0.5)
R(unnamed_5acb1a93_1_2, comp, [(-3.43,-4.365,3.43,-4.005), (-4.21,-3.68,-3.85,3.68), (3.85,-3.68,4.21,3.68), (-3.16,-2.505,-1.64,1.995), (-0.78,-2.505,0.78,1.995), (1.64,-2.505,3.16,1.995), (-3.43,4.005,3.43,4.365)])
P(unnamed_5acb1a93_1_2, comp, [(-4.21,-4.365),(-4.21,-4.005),(-3.85,-4.005),(3.85,-4.005),(3.85,4.005),(-3.85,4.005),(-3.85,-4.005),(-4.21,-4.005),(-4.21,4.365),(4.21,4.365),(4.21,-4.365)])
A(unnamed_5acb1a93_1_2, poly2, -2.58, -2.745, 0.36, 4.98, 3, 1, 2.4, 0)
R(unnamed_5acb1a93_1_2, poly2, [(-0.25,-3.545,0.25,-3.045), (-0.18,-3.475,0.18,-3.115), (-2.63,-3.205,-2.17,-2.745), (2.17,-3.205,2.63,-2.745), (-2.58,-3.155,-2.22,-2.795), (2.22,-3.155,2.58,-2.795), (-0.18,-3.045,0.18,-2.745)])
R(unnamed_5acb1a93_1_2, pplus, [(-3.39,-2.735,-1.41,2.225), (-1.01,-2.735,1.01,2.225), (1.41,-2.735,3.39,2.225)])
P(unnamed_5acb1a93_1_2, nplus, [(-4.37,-4.525),(-4.37,-3.845),(-3.69,-3.845),(3.69,-3.845),(3.69,3.845),(-3.69,3.845),(-3.69,-3.845),(-4.37,-3.845),(-4.37,4.525),(4.37,4.525),(4.37,-4.525)])
A(unnamed_5acb1a93_1_2, contact, -3.36, -4.295, 0.22, 0.22, 14, 2, 0.5, 8.37)
A(unnamed_5acb1a93_1_2, contact, -4.14, -3.61, 0.22, 0.22, 1, 15, 0, 0.5)
A(unnamed_5acb1a93_1_2, contact, 3.92, -3.61, 0.22, 0.22, 1, 15, 0, 0.5)
A(unnamed_5acb1a93_1_2, contact, -2.97, -2.115, 0.22, 0.22, 1, 8, 0, 0.5)
A(unnamed_5acb1a93_1_2, contact, -2.05, -2.115, 0.22, 0.22, 1, 8, 0, 0.5)
A(unnamed_5acb1a93_1_2, contact, -0.57, -2.115, 0.22, 0.22, 1, 8, 0, 0.5)
A(unnamed_5acb1a93_1_2, contact, 0.35, -2.115, 0.22, 0.22, 1, 8, 0, 0.5)
A(unnamed_5acb1a93_1_2, contact, 1.83, -2.115, 0.22, 0.22, 1, 8, 0, 0.5)
A(unnamed_5acb1a93_1_2, contact, 2.75, -2.115, 0.22, 0.22, 1, 8, 0, 0.5)
R(unnamed_5acb1a93_1_2, contact, [(-0.11,-3.405,0.11,-3.185), (-2.51,-3.085,-2.29,-2.865), (2.29,-3.085,2.51,-2.865)])
A(unnamed_5acb1a93_1_2, metal1, -3.48, -4.415, 0.46, 0.46, 14, 2, 0.5, 8.37)
A(unnamed_5acb1a93_1_2, metal1, -4.26, -3.73, 0.46, 0.46, 1, 15, 0, 0.5)
A(unnamed_5acb1a93_1_2, metal1, 3.8, -3.73, 0.46, 0.46, 1, 15, 0, 0.5)
A(unnamed_5acb1a93_1_2, metal1, -3.09, -3.205, 0.46, 0.46, 3, 1, 0.46, 0)
A(unnamed_5acb1a93_1_2, metal1, 1.71, -3.205, 0.46, 0.46, 3, 1, 0.46, 0)
A(unnamed_5acb1a93_1_2, metal1, -3.09, -2.235, 0.46, 0.46, 1, 8, 0, 0.5)
A(unnamed_5acb1a93_1_2, metal1, -2.17, -2.235, 0.46, 0.46, 1, 8, 0, 0.5)
A(unnamed_5acb1a93_1_2, metal1, -0.69, -2.235, 0.46, 0.46, 1, 8, 0, 0.5)
A(unnamed_5acb1a93_1_2, metal1, 0.23, -2.235, 0.46, 0.46, 1, 8, 0, 0.5)
A(unnamed_5acb1a93_1_2, metal1, 1.71, -2.235, 0.46, 0.46, 1, 8, 0, 0.5)
A(unnamed_5acb1a93_1_2, metal1, 2.63, -2.235, 0.46, 0.46, 1, 8, 0, 0.5)
A(unnamed_5acb1a93_1_2, metal1, -0.71, -2.105, 0.5, 0.5, 1, 5, 0, 0.8)
A(unnamed_5acb1a93_1_2, metal1, 0.21, -2.105, 0.5, 0.5, 1, 5, 0, 0.8)
R(unnamed_5acb1a93_1_2, metal1, [(-4.26,-4.415,-3.85,-3.955), (-4.26,-4.415,-3.8,-4.005), (-3.85,-4.415,3.85,-3.955), (3.8,-4.415,4.26,-4.005), (3.85,-4.415,4.26,-3.955), (-4.26,-4.005,-3.8,4.005), (3.8,-4.005,4.26,4.005), (-0.25,-3.545,0.25,-3.045), (-4.26,-3.205,-2.63,-2.745), (-3.09,-3.205,-2.63,-2.505), (-2.17,-3.205,-1.71,-2.505), (1.71,-3.205,2.17,-2.505), (2.17,-3.205,4.26,-2.745), (2.63,-3.205,3.09,-2.505), (-3.09,-2.505,-2.63,1.995), (-2.17,-2.505,-1.71,1.995), (-0.69,-2.505,-0.23,1.995), (0.23,-2.505,0.69,1.995), (1.71,-2.505,2.17,1.995), (2.63,-2.505,3.09,1.995), (-0.71,-2.105,-0.21,1.595), (0.21,-2.105,0.71,1.595), (-0.69,1.995,-0.23,2.745), (0.23,1.995,0.69,3.545), (-0.71,2.245,-0.21,2.745), (0.21,3.045,0.71,3.545), (-4.26,3.955,-3.85,4.415), (-3.85,3.955,3.85,4.415), (3.85,3.955,4.26,4.415), (-4.26,4.005,-3.8,4.415), (3.8,4.005,4.26,4.415)])
A(unnamed_5acb1a93_1_2, via1, -0.59, -1.985, 0.26, 0.26, 1, 5, 0, 0.8)
A(unnamed_5acb1a93_1_2, via1, 0.33, -1.985, 0.26, 0.26, 1, 5, 0, 0.8)
R(unnamed_5acb1a93_1_2, via1, [(-0.13,-3.425,0.13,-3.165), (-0.59,2.365,-0.33,2.625), (0.33,3.165,0.59,3.425)])
A(unnamed_5acb1a93_1_2, metal2, -0.71, -2.105, 0.5, 0.5, 1, 5, 0, 0.8)
A(unnamed_5acb1a93_1_2, metal2, 0.21, -2.105, 0.5, 0.5, 1, 5, 0, 0.8)
R(unnamed_5acb1a93_1_2, metal2, [(-0.25,-3.545,0.25,-3.045), (-0.71,-2.505,-0.21,1.995), (0.21,-2.505,0.71,1.995), (-0.71,2.245,-0.21,2.745), (0.21,3.045,0.71,3.545)])
R(unnamed_5acb1a93_1_2, via2, [(-0.13,-3.425,0.13,-3.165), (-0.59,2.365,-0.33,2.625), (0.33,3.165,0.59,3.425)])
R(unnamed_5acb1a93_1_2, metal3, [(-0.25,-3.545,0.25,-3.045), (-0.25,-3.545,0.25,-3.045), (-0.71,2.245,-0.21,2.745), (-0.71,2.245,0.71,2.745), (-0.71,3.045,0.71,3.545), (0.21,3.045,0.71,3.545)])

unnamed_6f5da526_1_2 = lib.new_cell('Unnamed_6f5da526$1$2')
A(unnamed_6f5da526_1_2, comp, -3.43, -2.77, 0.36, 0.36, 14, 2, 0.5, 5.18)
A(unnamed_6f5da526_1_2, comp, -4.21, -1.93, 0.36, 0.36, 1, 8, 0, 0.5)
A(unnamed_6f5da526_1_2, comp, 3.85, -1.93, 0.36, 0.36, 1, 8, 0, 0.5)
R(unnamed_6f5da526_1_2, comp, [(-3.43,-2.77,3.43,-2.41), (-4.21,-1.93,-3.85,1.93), (3.85,-1.93,4.21,1.93), (-3.16,-0.905,-1.64,0.395), (-0.78,-0.905,0.78,0.395), (1.64,-0.905,3.16,0.395), (-3.43,2.41,3.43,2.77)])
P(unnamed_6f5da526_1_2, comp, [(-4.21,-2.77),(-4.21,-2.41),(-3.85,-2.41),(3.85,-2.41),(3.85,2.41),(-3.85,2.41),(-3.85,-2.41),(-4.21,-2.41),(-4.21,2.77),(4.21,2.77),(4.21,-2.77)])
A(unnamed_6f5da526_1_2, poly2, -2.58, -1.145, 0.36, 1.78, 3, 1, 2.4, 0)
R(unnamed_6f5da526_1_2, poly2, [(-0.25,-1.945,0.25,-1.445), (-0.18,-1.875,0.18,-1.515), (-2.63,-1.605,-2.17,-1.145), (2.17,-1.605,2.63,-1.145), (-2.58,-1.555,-2.22,-1.195), (2.22,-1.555,2.58,-1.195), (-0.18,-1.445,0.18,-1.145)])
P(unnamed_6f5da526_1_2, pplus, [(-4.37,-2.93),(-4.37,-2.25),(-3.69,-2.25),(3.69,-2.25),(3.69,2.25),(-3.69,2.25),(-3.69,-2.25),(-4.37,-2.25),(-4.37,2.93),(4.37,2.93),(4.37,-2.93)])
R(unnamed_6f5da526_1_2, nplus, [(-3.39,-1.135,-1.41,0.625), (-1.01,-1.135,1.01,0.625), (1.41,-1.135,3.39,0.625)])
A(unnamed_6f5da526_1_2, contact, -3.36, -2.7, 0.22, 0.22, 14, 2, 0.5, 5.18)
A(unnamed_6f5da526_1_2, contact, -4.14, -1.86, 0.22, 0.22, 1, 8, 0, 0.5)
A(unnamed_6f5da526_1_2, contact, 3.92, -1.86, 0.22, 0.22, 1, 8, 0, 0.5)
R(unnamed_6f5da526_1_2, contact, [(-0.11,-1.805,0.11,-1.585), (-2.51,-1.485,-2.29,-1.265), (2.29,-1.485,2.51,-1.265), (-2.97,-0.365,-2.75,-0.145), (-2.05,-0.365,-1.83,-0.145), (-0.57,-0.365,-0.35,-0.145), (0.35,-0.365,0.57,-0.145), (1.83,-0.365,2.05,-0.145), (2.75,-0.365,2.97,-0.145)])
A(unnamed_6f5da526_1_2, metal1, -3.48, -2.82, 0.46, 0.46, 14, 2, 0.5, 5.18)
A(unnamed_6f5da526_1_2, metal1, -4.26, -1.98, 0.46, 0.46, 1, 8, 0, 0.5)
A(unnamed_6f5da526_1_2, metal1, 3.8, -1.98, 0.46, 0.46, 1, 8, 0, 0.5)
A(unnamed_6f5da526_1_2, metal1, -3.09, -1.605, 0.46, 0.46, 3, 1, 0.46, 0)
A(unnamed_6f5da526_1_2, metal1, 1.71, -1.605, 0.46, 0.46, 3, 1, 0.46, 0)
R(unnamed_6f5da526_1_2, metal1, [(-4.26,-2.82,-3.85,-2.36), (-4.26,-2.82,-3.8,-2.41), (-3.85,-2.82,3.85,-2.36), (3.8,-2.82,4.26,-2.41), (3.85,-2.82,4.26,-2.36), (-4.26,-2.41,-3.8,2.41), (3.8,-2.41,4.26,2.41), (-0.25,-1.945,0.25,-1.445), (-4.26,-1.605,-2.63,-1.145), (-3.09,-1.605,-2.63,-0.905), (-2.17,-1.605,-1.71,-0.905), (1.71,-1.605,2.17,-0.905), (2.17,-1.605,4.26,-1.145), (2.63,-1.605,3.09,-0.905), (-3.09,-0.905,-2.63,0.395), (-2.17,-0.905,-1.71,0.395), (-0.69,-0.905,-0.23,0.395), (0.23,-0.905,0.69,0.395), (1.71,-0.905,2.17,0.395), (2.63,-0.905,3.09,0.395), (-0.71,-0.505,-0.21,-0.005), (-0.71,-0.505,-0.21,-0.005), (0.21,-0.505,0.71,-0.005), (0.21,-0.505,0.71,-0.005), (-3.09,-0.485,-2.63,-0.025), (-2.17,-0.485,-1.71,-0.025), (-0.69,-0.485,-0.23,-0.025), (0.23,-0.485,0.69,-0.025), (1.71,-0.485,2.17,-0.025), (2.63,-0.485,3.09,-0.025), (-0.69,0.395,-0.23,1.145), (0.23,0.395,0.69,1.945), (-0.71,0.645,-0.21,1.145), (0.21,1.445,0.71,1.945), (-4.26,2.36,-3.85,2.82), (-3.85,2.36,3.85,2.82), (3.85,2.36,4.26,2.82), (-4.26,2.41,-3.8,2.82), (3.8,2.41,4.26,2.82)])
R(unnamed_6f5da526_1_2, via1, [(-0.13,-1.825,0.13,-1.565), (-0.59,-0.385,-0.33,-0.125), (0.33,-0.385,0.59,-0.125), (-0.59,0.765,-0.33,1.025), (0.33,1.565,0.59,1.825)])
R(unnamed_6f5da526_1_2, metal2, [(-0.25,-1.945,0.25,-1.445), (-0.71,-0.905,-0.21,0.395), (0.21,-0.905,0.71,0.395), (-0.71,-0.505,-0.21,-0.005), (0.21,-0.505,0.71,-0.005), (-0.71,0.645,-0.21,1.145), (0.21,1.445,0.71,1.945)])
R(unnamed_6f5da526_1_2, via2, [(-0.13,-1.825,0.13,-1.565), (-0.59,0.765,-0.33,1.025), (0.33,1.565,0.59,1.825)])
R(unnamed_6f5da526_1_2, metal3, [(-0.25,-1.945,0.25,-1.445), (-0.25,-1.945,0.25,-1.445), (-0.71,0.645,-0.21,1.145), (-0.71,0.645,0.71,1.145), (-0.71,1.445,0.71,1.945), (0.21,1.445,0.71,1.945)])
R(unnamed_6f5da526_1_2, lvpwell, [(-4.49,-3.05,4.49,3.05)])

c_route_c792315c_10_1_2 = lib.new_cell('c_route_c792315c$10$1$2')
R(c_route_c792315c_10_1_2, metal3, [(-3.07,-9.05,-0.71,-8.55), (-3.07,-9.05,-2.51,-8.49), (-3.07,-9.05,-2.51,-2.245), (-3.07,-2.805,-2.51,-2.245), (-3.07,-2.745,-0.71,-2.245)])
P(c_route_c792315c_10_1_2, metal3, [(-2.51,-9.05),(-2.51,-8.49),(-2.51,-8.49),(-2.51,-9.05)],
  [(-2.51,-2.805),(-2.51,-2.245),(-2.51,-2.245),(-2.51,-2.805)])

c_route_eaf2b499_10_1_2 = lib.new_cell('c_route_eaf2b499$10$1$2')
R(c_route_eaf2b499_10_1_2, metal3, [(0.71,-8.25,3.07,-7.75), (2.51,-8.25,3.07,-7.69), (2.51,-8.25,3.07,-3.045), (2.51,-3.605,3.07,-3.045), (0.71,-3.545,3.07,-3.045)])
P(c_route_eaf2b499_10_1_2, metal3, [(3.07,-8.25),(3.07,-7.69),(3.07,-7.69),(3.07,-8.25)],
  [(3.07,-3.605),(3.07,-3.045),(3.07,-3.045),(3.07,-3.605)])

via_dev = lib.new_cell('via_dev')
R(via_dev, metal2, [(0,0,0.5,0.5)])
R(via_dev, via2, [(0.12,0.12,0.38,0.38)])
R(via_dev, metal3, [(0,0,0.5,0.5)])

via_dev_1 = lib.new_cell('via_dev$1')
R(via_dev_1, metal1, [(0,0,0.5,0.5)])
R(via_dev_1, via1, [(0.12,0.12,0.38,0.38)])
R(via_dev_1, metal2, [(0,0,0.5,0.5)])

via_dev_2 = lib.new_cell('via_dev$2')
R(via_dev_2, via3, [(0.12,0.12,0.38,0.38)])
R(via_dev_2, via4, [(0.12,0.12,0.38,0.38)])
R(via_dev_2, metal3, [(0,0,0.5,0.5)])
R(via_dev_2, metal4, [(0,0,0.5,0.5)])
R(via_dev_2, metal5, [(0,0,0.5,0.5)])

capfb_m8 = lib.new_cell('capfb_m8')
R(capfb_m8, nwell, [(31.89,22.955,42.07,33.445), (30.09,49.645,43.87,64.275)])
R(capfb_m8, metal1, [(40.41,15.685,42.37,16.145), (28.03,20.865,34.09,21.325), (26.83,32.155,33.85,32.615), (40.11,32.155,47.13,32.615), (28.03,35.545,32.55,36.04), (30.78,35.545,34.81,45.795), (39.13,35.545,43.16,45.795), (30.76,39.445,36.29,42.445), (37.67,39.445,43.2,42.445), (30.78,50.335,34.81,63.585), (39.15,50.335,43.18,63.585), (30.78,53.685,36.29,59.685), (37.63,53.685,43.14,59.685), (26.83,63.08,32.13,63.585), (41.83,63.08,47.13,63.585)])
R(capfb_m8, metal2, [(29.23,14.955,29.73,48.015), (36.27,17.6,36.77,19.65), (28.03,20.865,28.53,36.04), (36.26,25.455,36.77,30.705), (36.73,31.245,37.23,34.695), (26.83,32.155,27.33,63.585), (46.63,32.155,47.13,63.585), (45.43,34.195,45.93,38.39), (35.81,38.695,36.31,42.445), (37.65,38.695,38.15,42.445), (35.81,53.685,36.31,60.435), (37.65,53.685,38.15,60.435)])
R(capfb_m8, metal3, [(29.23,14.955,37.23,15.455), (36.73,14.955,37.23,17.06), (36.73,16.56,37.23,17.06), (21.99,22.3,34.47,22.8), (36.73,31.245,38.14,31.745), (36.73,34.195,45.93,34.695), (36.29,42.945,37.67,53.185), (29.23,47.515,37.67,48.015)])
A(capfb_m8, metal4, 51.93, 14.86, 12.2, 32.1, 4, 1, 19, 0)
R(capfb_m8, metal4, [(51.93,14.86,83.13,27.96), (51.93,14.86,121.13,27.96), (89.93,14.86,121.13,27.96), (51.93,33.86,83.13,46.96), (51.93,33.86,121.13,46.96), (89.93,33.86,121.13,46.96)])
R(capfb_m8, metal5, [(51.93,15.26,121.13,15.76), (52.53,16.36,120.53,27.36), (65.88,16.36,69.17,46.36), (84.89,16.36,88.18,46.36), (103.88,16.36,107.17,46.36), (39.04,22.155,70.7,22.955), (52.53,35.36,120.53,46.36)])
R(capfb_m8, lvpwell, [(31.89,14.855,42.07,22.155)])
capfb_m8.add(gdstk.Reference(straight_route_1292f0cf, (-22.97,40.41)))
capfb_m8.add(gdstk.Reference(straight_route_d243dd4a, (-22.97,40.41)))
capfb_m8.add(gdstk.Reference(straight_route_c66886c2, (-22.97,40.41)))
capfb_m8.add(gdstk.Reference(straight_route_5527bab2, (-22.97,40.41)))
capfb_m8.add(gdstk.Reference(straight_route_7c0e1663, (-22.97,40.41)))
capfb_m8.add(gdstk.Reference(unnamed_3bdbd8be, (77.03,21.86)))
capfb_m8.add(gdstk.Reference(unnamed_5ccd14ac, (58.03,21.86)))
capfb_m8.add(gdstk.Reference(unnamed_c330ef8c, (77.03,40.86)))
capfb_m8.add(gdstk.Reference(unnamed_f946fc89, (58.03,40.86)))
capfb_m8.add(gdstk.Reference(straight_route_1292f0cf_, (15.03,40.41)))
capfb_m8.add(gdstk.Reference(straight_route_d243dd4a_, (15.03,40.41)))
capfb_m8.add(gdstk.Reference(straight_route_c66886c2_, (15.03,40.41)))
capfb_m8.add(gdstk.Reference(straight_route_5527bab2_, (15.03,40.41)))
capfb_m8.add(gdstk.Reference(straight_route_7c0e1663_, (15.03,40.41)))
capfb_m8.add(gdstk.Reference(unnamed_3bdbd8be_1, (115.03,21.86)))
capfb_m8.add(gdstk.Reference(unnamed_5ccd14ac_1, (96.03,21.86)))
capfb_m8.add(gdstk.Reference(unnamed_c330ef8c_1, (115.03,40.86)))
capfb_m8.add(gdstk.Reference(unnamed_f946fc89_1, (96.03,40.86)))
capfb_m8.add(gdstk.Reference(unnamed_2a73851a_1_2, (35.33,56.955)))
capfb_m8.add(gdstk.Reference(unnamed_f1af8ef3_1_2, (38.63,56.955), rotation=pi, x_reflection=True))
capfb_m8.add(gdstk.Reference(unnamed_ead98f9a_1_2, (35.33,40.665), x_reflection=True))
capfb_m8.add(gdstk.Reference(unnamed_11e8e328_1_2, (38.63,40.665), rotation=pi))
capfb_m8.add(gdstk.Reference(unnamed_a559eeb2_1_1_2, (36.98,56.955)))
capfb_m8.add(gdstk.Reference(unnamed_ba294454_1_1_2, (36.98,40.665)))
capfb_m8.add(gdstk.Reference(straight_route_bff6138e_, (35.33,56.955)))
capfb_m8.add(gdstk.Reference(c_route_7e4f65a3_1_1_2, (35.33,56.955)))
capfb_m8.add(gdstk.Reference(straight_route_e266139e_, (35.33,56.955)))
capfb_m8.add(gdstk.Reference(straight_route_f31ed6b7_, (35.33,56.955)))
capfb_m8.add(gdstk.Reference(unnamed_5acb1a93_1_2, (36.98,28.2), x_reflection=True))
capfb_m8.add(gdstk.Reference(unnamed_6f5da526_1_2, (36.98,18.505)))
capfb_m8.add(gdstk.Reference(c_route_c792315c_10_1_2, (36.98,28.2)))
capfb_m8.add(gdstk.Reference(c_route_eaf2b499_10_1_2, (36.98,28.2)))
capfb_m8.add(gdstk.Reference(via_dev, (36.73,34.195)))
capfb_m8.add(gdstk.Reference(via_dev, (45.43,34.195)))
capfb_m8.add(gdstk.Reference(via_dev_1, (46.63,32.155)))
capfb_m8.add(gdstk.Reference(via_dev_1, (46.63,63.085)))
capfb_m8.add(gdstk.Reference(via_dev_1, (27.33,32.155), rotation=pi, x_reflection=True))
capfb_m8.add(gdstk.Reference(via_dev_1, (27.33,63.085), rotation=pi, x_reflection=True))
capfb_m8.add(gdstk.Reference(via_dev_1, (28.53,35.535), rotation=pi, x_reflection=True))
capfb_m8.add(gdstk.Reference(via_dev_1, (28.53,20.865), rotation=pi, x_reflection=True))
capfb_m8.add(gdstk.Reference(via_dev, (29.73,14.955), rotation=pi, x_reflection=True))
capfb_m8.add(gdstk.Reference(via_dev, (29.73,47.515), rotation=pi, x_reflection=True))
capfb_m8.add(gdstk.Reference(via_dev_2, (39.52,22.3)))
capfb_m8.add(gdstk.Label('out', (66.8,15.48), layer=81, texttype=10))
capfb_m8.add(gdstk.Label('VDD3V3', (45.27,63.29), layer=34, texttype=10))
capfb_m8.add(gdstk.Label('VSS', (42.07,15.8), layer=34, texttype=10))
capfb_m8.add(gdstk.Label('in', (27.16,22.49), layer=42, texttype=10))
capfb_m8.add(gdstk.Label('clk', (30.63,15.15), layer=42, texttype=10))

lib.write_gds('capfb_m8.gds')
